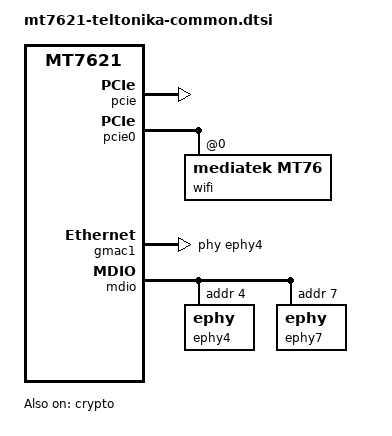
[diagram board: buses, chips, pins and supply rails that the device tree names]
#include <dt-bindings/input/input.h>
#include "mt7621.dtsi"
#include "platform_name.dtsi"

&pcie {
    status = "okay";
};

&pcie0 {
    wifi@0,0 {
        compatible = "mediatek,mt76";
        reg = <0x0000 0 0 0 0>;
        mediatek,mtd-eeprom = <&factory 0x0>;
    };
};

&gmac0 {
	mtd-mac-address = <&config 0x0>;
};

&gmac1 {
        status = "okay";
	label = "wan";
	phy-handle = <&ephy4>;
	mtd-mac-address = <&config 0x0>;
	mtd-mac-address-increment = <1>;
};

&mdio {
	ephy4: ephy@4 {
		reg = <4>;
	};

	ephy7: ephy@7 {
		reg = <7>;
	};
};

&crypto {
	status = "okay";
};
